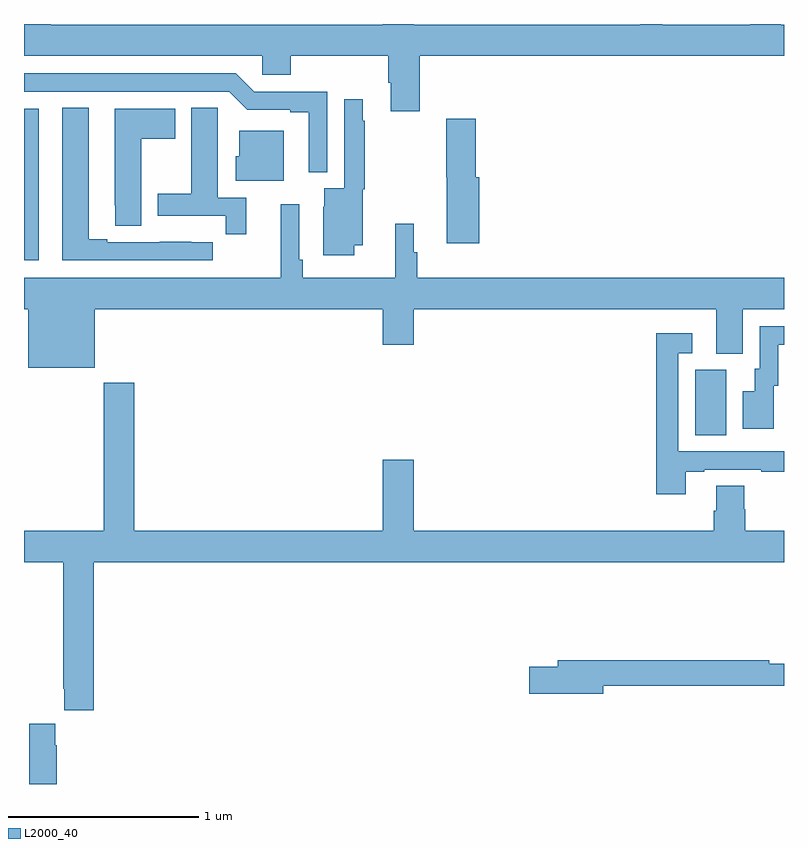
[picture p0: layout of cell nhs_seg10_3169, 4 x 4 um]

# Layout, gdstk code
import gdstk
lib = gdstk.Library(unit=1e-6, precision=1e-09)
def R(c, l, rs):  # rectangles x0, y0, x1, y1
    for r in rs: c.add(gdstk.rectangle(r[:2], r[2:], *l))
def P(c, l, *ps):  # polygons
    for p in ps: c.add(gdstk.Polygon(p, *l))
L2000_40 = (2000, 40)

nhs_seg10_3169 = lib.new_cell('nhs_seg10_3169')
R(nhs_seg10_3169, L2000_40, [(286.532,1282.336,286.696,1282.68), (283,1283.256,283.078,1284.054)])
P(nhs_seg10_3169, L2000_40, [(285.083,1284.332),(287,1284.332),(287,1284.496),(286.982,1284.496),(286.982,1284.5),(286.822,1284.5),(286.822,1284.496),(286.36,1284.496),(286.36,1284.5),(286.243,1284.5),(286.243,1284.496),(285.052,1284.496),(285.052,1284.5),(284.888,1284.5),(284.888,1284.496),(283.142,1284.496),(283.142,1284.5),(283,1284.5),(283,1284.332),(284.253,1284.332),(284.253,1284.234),(284.405,1284.234),(284.405,1284.332),(284.918,1284.332),(284.918,1284.19),(284.93,1284.19),(284.93,1284.042),(285.083,1284.042)],
  [(284.595,1284.144),(284.211,1284.144),(284.115,1284.24),(283,1284.24),(283,1284.144),(284.079,1284.144),(284.175,1284.048),(284.402,1284.048),(284.402,1284.036),(284.498,1284.036),(284.498,1283.72),(284.595,1283.72)],
  [(284.737,1283.336),(284.782,1283.336),(284.782,1283.631),(284.794,1283.631),(284.794,1283.99),(284.782,1283.99),(284.782,1284.103),(284.685,1284.103),(284.685,1283.635),(284.579,1283.635),(284.579,1283.538),(284.576,1283.538),(284.576,1283.283),(284.737,1283.283)],
  [(284.171,1283.586),(284.02,1283.586),(284.02,1283.948),(284.019,1283.948),(284.019,1284.059),(283.88,1284.059),(283.88,1283.607),(283.703,1283.607),(283.703,1283.49),(284.062,1283.49),(284.062,1283.394),(284.171,1283.394)],
  [(283.993,1283.352),(283.88,1283.352),(283.88,1283.353),(283.714,1283.353),(283.714,1283.352),(283.438,1283.352),(283.438,1283.367),(283.342,1283.367),(283.342,1284.059),(283.202,1284.059),(283.202,1283.256),(283.993,1283.256)],
  [(283.618,1283.896),(283.795,1283.896),(283.795,1284.055),(283.478,1284.055),(283.478,1283.545),(283.479,1283.545),(283.479,1283.437),(283.618,1283.437)],
  [(285.395,1283.694),(285.377,1283.694),(285.377,1284.001),(285.223,1284.001),(285.223,1283.694),(285.224,1283.694),(285.224,1283.346),(285.395,1283.346)],
  [(284.368,1283.938),(284.132,1283.938),(284.132,1283.805),(284.114,1283.805),(284.114,1283.675),(284.368,1283.675)],
  [(283.372,1283),(284.888,1283),(284.888,1282.812),(285.052,1282.812),(285.052,1283),(286.643,1283),(286.643,1282.765),(286.783,1282.765),(286.783,1283),(287,1283),(287,1283.164),(285.071,1283.164),(285.071,1283.298),(285.052,1283.298),(285.052,1283.449),(284.954,1283.449),(284.954,1283.164),(284.468,1283.164),(284.468,1283.26),(284.448,1283.26),(284.448,1283.551),(284.351,1283.551),(284.351,1283.164),(283,1283.164),(283,1283),(283.022,1283),(283.022,1282.691),(283.372,1282.691)],
  [(286.945,1282.596),(286.969,1282.596),(286.969,1282.812),(287,1282.812),(287,1282.908),(286.872,1282.908),(286.872,1282.686),(286.847,1282.686),(286.847,1282.567),(286.784,1282.567),(286.784,1282.371),(286.945,1282.371)],
  [(286.483,1282.143),(286.579,1282.143),(286.579,1282.155),(286.879,1282.155),(286.879,1282.143),(287,1282.143),(287,1282.251),(286.443,1282.251),(286.443,1282.767),(286.516,1282.767),(286.516,1282.873),(286.327,1282.873),(286.327,1282.026),(286.483,1282.026)],
  [(283.367,1281.668),(287,1281.668),(287,1281.832),(286.796,1281.832),(286.796,1281.945),(286.791,1281.945),(286.791,1282.07),(286.643,1282.07),(286.643,1281.938),(286.631,1281.938),(286.631,1281.832),(285.052,1281.832),(285.052,1282.207),(284.888,1282.207),(284.888,1281.832),(283.58,1281.832),(283.58,1282.612),(283.42,1282.612),(283.42,1281.832),(283,1281.832),(283,1281.668),(283.207,1281.668),(283.207,1281.001),(283.211,1281.001),(283.211,1280.889),(283.367,1280.889)],
  [(286.048,1281.016),(287,1281.016),(287,1281.133),(286.922,1281.133),(286.922,1281.152),(285.809,1281.152),(285.809,1281.116),(285.66,1281.116),(285.66,1280.974),(286.048,1280.974)],
  [(283.172,1280.705),(283.165,1280.705),(283.165,1280.818),(283.028,1280.818),(283.028,1280.5),(283.172,1280.5)])

lib.write_gds('nhs_seg10_3169.gds')
